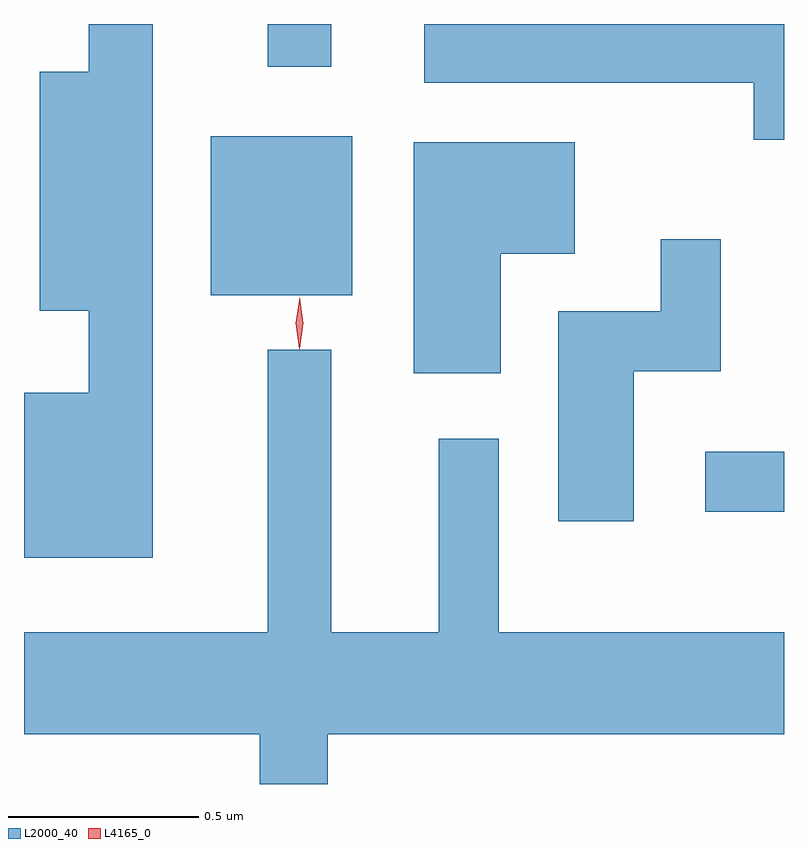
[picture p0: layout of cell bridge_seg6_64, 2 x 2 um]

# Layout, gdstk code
import gdstk
lib = gdstk.Library(unit=1e-6, precision=1e-09)
def R(c, l, rs):  # rectangles x0, y0, x1, y1
    for r in rs: c.add(gdstk.rectangle(r[:2], r[2:], *l))
def P(c, l, *ps):  # polygons
    for p in ps: c.add(gdstk.Polygon(p, *l))
L2000_40 = (2000, 40)
L4165_0 = (4165, 0)

bridge_seg6_64 = lib.new_cell('bridge_seg6_64')
R(bridge_seg6_64, L2000_40, [(1381.923,1643.861,1382.13,1644.019), (1380.621,1644.431,1380.994,1644.849), (1380.771,1645.033,1380.939,1645.145)])
P(bridge_seg6_64, L2000_40, [(1382.13,1645.145),(1381.183,1645.145),(1381.183,1644.991),(1382.051,1644.991),(1382.051,1644.841),(1382.13,1644.841)],
  [(1380.469,1645.145),(1380.301,1645.145),(1380.301,1645.019),(1380.171,1645.019),(1380.171,1644.391),(1380.301,1644.391),(1380.301,1644.174),(1380.13,1644.174),(1380.13,1643.741),(1380.469,1643.741)],
  [(1381.384,1644.541),(1381.579,1644.541),(1381.579,1644.834),(1381.156,1644.834),(1381.156,1644.226),(1381.384,1644.226)],
  [(1381.734,1644.231),(1381.964,1644.231),(1381.964,1644.578),(1381.806,1644.578),(1381.806,1644.389),(1381.536,1644.389),(1381.536,1643.836),(1381.734,1643.836)],
  [(1380.929,1643.276),(1382.13,1643.276),(1382.13,1643.544),(1381.379,1643.544),(1381.379,1644.053),(1381.221,1644.053),(1381.221,1643.544),(1380.939,1643.544),(1380.939,1644.288),(1380.771,1644.288),(1380.771,1643.544),(1380.13,1643.544),(1380.13,1643.276),(1380.751,1643.276),(1380.751,1643.145),(1380.929,1643.145)])
P(bridge_seg6_64, L4165_0, [(1380.854,1644.29),(1380.845,1644.358),(1380.855,1644.426),(1380.856,1644.426),(1380.856,1644.426),(1380.865,1644.358),(1380.855,1644.29),(1380.855,1644.29)],
  [(1380.854,1644.293),(1380.845,1644.358),(1380.855,1644.421),(1380.856,1644.422),(1380.856,1644.421),(1380.865,1644.357),(1380.855,1644.293),(1380.855,1644.293)])

lib.write_gds('bridge_seg6_64.gds')
